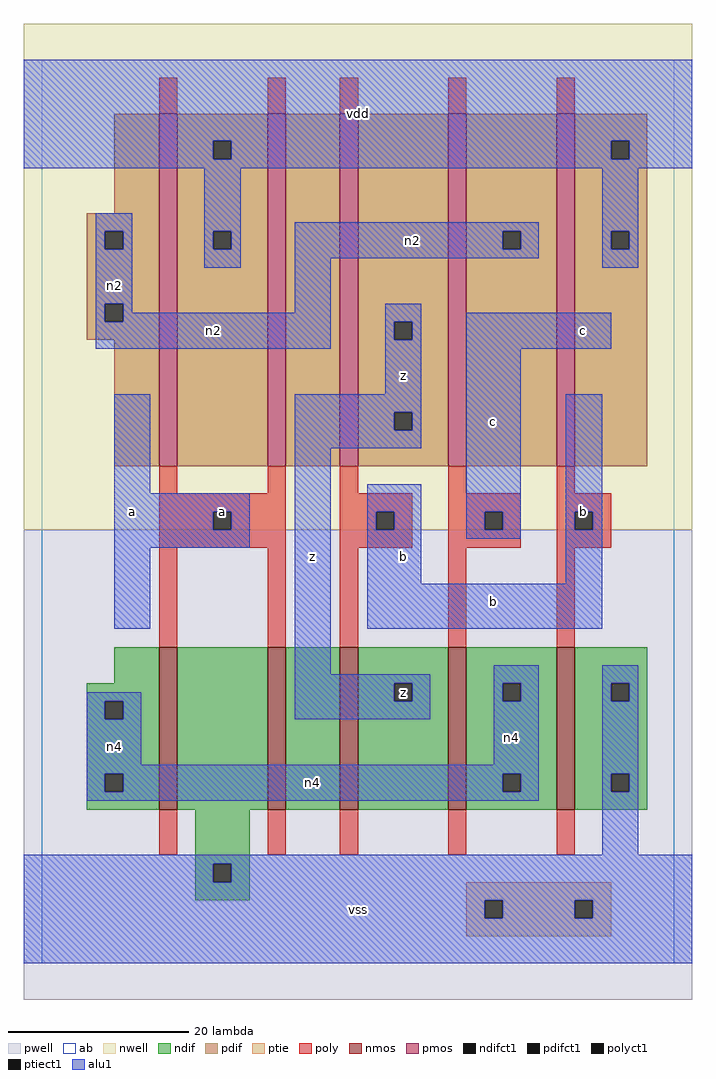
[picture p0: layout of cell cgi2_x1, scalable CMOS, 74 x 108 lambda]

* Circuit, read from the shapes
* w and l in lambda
.subckt cgi2_x1 a b c n2 n4 vdd vss z
M1 vss a n4 vss nfet w=18 l=2
M2 n1 a vss vss nfet w=18 l=2
M3 z b n1 vss nfet w=18 l=2
M4 n4 c z vss nfet w=18 l=2
M5 vss b n4 vss nfet w=18 l=2
M6 vdd a n2 n3 pfet w=39 l=2
M7 n5 a vdd n3 pfet w=39 l=2
M8 z b n5 n3 pfet w=39 l=2
M9 n2 c z n3 pfet w=39 l=2
M10 vdd b n2 n3 pfet w=39 l=2
.ends

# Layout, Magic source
magic
tech scmos
<< ab >>
rect 0 0 70 100
<< nwell >>
rect -2 48 72 104
<< pwell >>
rect -2 -4 72 48
<< poly >>
rect 13 94 15 98
rect 25 94 27 98
rect 33 94 35 98
rect 45 94 47 98
rect 57 94 59 98
rect 13 52 15 55
rect 25 52 27 55
rect 13 50 27 52
rect 13 48 19 50
rect 21 48 27 50
rect 13 46 27 48
rect 13 35 15 46
rect 25 35 27 46
rect 33 52 35 55
rect 45 52 47 55
rect 57 52 59 55
rect 33 50 41 52
rect 33 48 37 50
rect 39 48 41 50
rect 33 46 41 48
rect 45 50 53 52
rect 45 48 49 50
rect 51 48 53 50
rect 45 46 53 48
rect 57 50 63 52
rect 57 48 59 50
rect 61 48 63 50
rect 57 46 63 48
rect 33 35 35 46
rect 45 35 47 46
rect 57 35 59 46
rect 13 12 15 17
rect 25 12 27 17
rect 33 12 35 17
rect 45 12 47 17
rect 57 12 59 17
<< ndif >>
rect 8 31 13 35
rect 5 29 13 31
rect 5 27 7 29
rect 9 27 13 29
rect 5 21 13 27
rect 5 19 7 21
rect 9 19 13 21
rect 5 17 13 19
rect 15 17 25 35
rect 27 17 33 35
rect 35 31 45 35
rect 35 29 39 31
rect 41 29 45 31
rect 35 17 45 29
rect 47 31 57 35
rect 47 29 51 31
rect 53 29 57 31
rect 47 21 57 29
rect 47 19 51 21
rect 53 19 57 21
rect 47 17 57 19
rect 59 31 67 35
rect 59 29 63 31
rect 65 29 67 31
rect 59 21 67 29
rect 59 19 63 21
rect 65 19 67 21
rect 59 17 67 19
rect 17 11 23 17
rect 17 9 19 11
rect 21 9 23 11
rect 17 7 23 9
<< pdif >>
rect 8 83 13 94
rect 5 81 13 83
rect 5 79 7 81
rect 9 79 13 81
rect 5 73 13 79
rect 5 71 7 73
rect 9 71 13 73
rect 5 69 13 71
rect 8 55 13 69
rect 15 91 25 94
rect 15 89 19 91
rect 21 89 25 91
rect 15 81 25 89
rect 15 79 19 81
rect 21 79 25 81
rect 15 55 25 79
rect 27 55 33 94
rect 35 71 45 94
rect 35 69 39 71
rect 41 69 45 71
rect 35 61 45 69
rect 35 59 39 61
rect 41 59 45 61
rect 35 55 45 59
rect 47 81 57 94
rect 47 79 51 81
rect 53 79 57 81
rect 47 55 57 79
rect 59 91 67 94
rect 59 89 63 91
rect 65 89 67 91
rect 59 81 67 89
rect 59 79 63 81
rect 65 79 67 81
rect 59 55 67 79
<< alu1 >>
rect -2 91 72 100
rect -2 89 19 91
rect 21 89 63 91
rect 65 89 72 91
rect -2 88 72 89
rect 6 81 10 83
rect 6 79 7 81
rect 9 79 10 81
rect 6 73 10 79
rect 18 81 22 88
rect 18 79 19 81
rect 21 79 22 81
rect 18 77 22 79
rect 28 81 55 82
rect 28 79 51 81
rect 53 79 55 81
rect 28 78 55 79
rect 62 81 66 88
rect 62 79 63 81
rect 65 79 66 81
rect 6 71 7 73
rect 9 72 10 73
rect 28 72 32 78
rect 62 77 66 79
rect 9 71 32 72
rect 6 68 32 71
rect 38 71 42 73
rect 38 69 39 71
rect 41 69 42 71
rect 38 63 42 69
rect 8 52 12 63
rect 28 61 42 63
rect 28 59 39 61
rect 41 59 42 61
rect 28 57 42 59
rect 47 68 63 72
rect 8 50 23 52
rect 8 48 19 50
rect 21 48 23 50
rect 8 46 23 48
rect 8 37 12 46
rect 28 32 32 57
rect 36 50 42 53
rect 36 48 37 50
rect 39 48 42 50
rect 36 42 42 48
rect 47 50 53 68
rect 47 48 49 50
rect 51 48 53 50
rect 47 47 53 48
rect 58 50 62 63
rect 58 48 59 50
rect 61 48 62 50
rect 58 42 62 48
rect 36 37 62 42
rect 28 31 43 32
rect 5 29 11 30
rect 5 27 7 29
rect 9 27 11 29
rect 28 29 39 31
rect 41 29 43 31
rect 28 27 43 29
rect 50 31 55 33
rect 50 29 51 31
rect 53 29 55 31
rect 5 22 11 27
rect 50 22 55 29
rect 5 21 55 22
rect 5 19 7 21
rect 9 19 51 21
rect 53 19 55 21
rect 5 18 55 19
rect 62 31 66 33
rect 62 29 63 31
rect 65 29 66 31
rect 62 21 66 29
rect 62 19 63 21
rect 65 19 66 21
rect 62 12 66 19
rect -2 11 72 12
rect -2 9 19 11
rect 21 9 72 11
rect -2 7 72 9
rect -2 5 49 7
rect 51 5 59 7
rect 61 5 72 7
rect -2 0 72 5
<< ptie >>
rect 47 7 63 9
rect 47 5 49 7
rect 51 5 59 7
rect 61 5 63 7
rect 47 3 63 5
<< nmos >>
rect 13 17 15 35
rect 25 17 27 35
rect 33 17 35 35
rect 45 17 47 35
rect 57 17 59 35
<< pmos >>
rect 13 55 15 94
rect 25 55 27 94
rect 33 55 35 94
rect 45 55 47 94
rect 57 55 59 94
<< polyct1 >>
rect 19 48 21 50
rect 37 48 39 50
rect 49 48 51 50
rect 59 48 61 50
<< ndifct1 >>
rect 7 27 9 29
rect 7 19 9 21
rect 39 29 41 31
rect 51 29 53 31
rect 51 19 53 21
rect 63 29 65 31
rect 63 19 65 21
rect 19 9 21 11
<< ptiect1 >>
rect 49 5 51 7
rect 59 5 61 7
<< pdifct1 >>
rect 7 79 9 81
rect 7 71 9 73
rect 19 89 21 91
rect 19 79 21 81
rect 39 69 41 71
rect 39 59 41 61
rect 51 79 53 81
rect 63 89 65 91
rect 63 79 65 81
<< labels >>
rlabel alu1 8 24 8 24 6 n4
rlabel alu1 8 75 8 75 6 n2
rlabel alu1 10 50 10 50 6 a
rlabel alu1 20 50 20 50 6 a
rlabel alu1 35 6 35 6 6 vss
rlabel alu1 30 45 30 45 6 z
rlabel alu1 19 70 19 70 6 n2
rlabel alu1 35 94 35 94 6 vdd
rlabel alu1 52 25 52 25 6 n4
rlabel alu1 30 20 30 20 6 n4
rlabel ndifct1 40 30 40 30 6 z
rlabel alu1 50 40 50 40 6 b
rlabel alu1 40 45 40 45 6 b
rlabel alu1 50 60 50 60 6 c
rlabel alu1 40 65 40 65 6 z
rlabel alu1 41 80 41 80 6 n2
rlabel alu1 60 50 60 50 6 b
rlabel alu1 60 70 60 70 6 c
<< end >>
